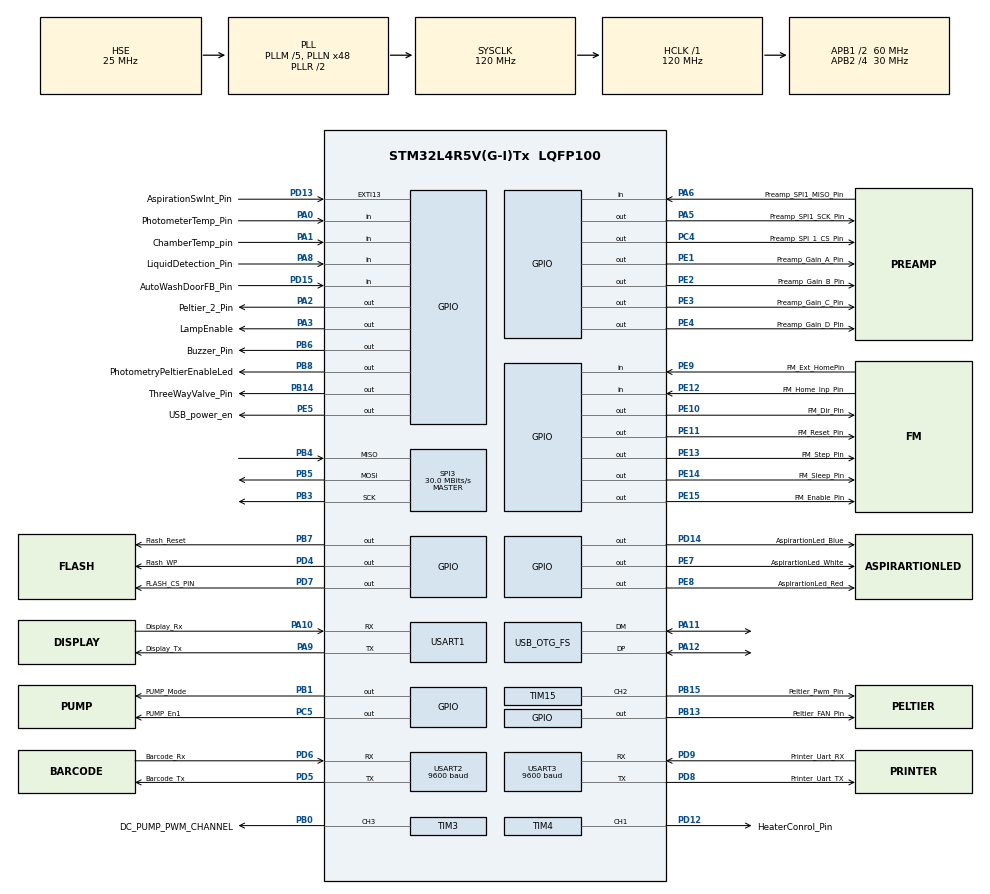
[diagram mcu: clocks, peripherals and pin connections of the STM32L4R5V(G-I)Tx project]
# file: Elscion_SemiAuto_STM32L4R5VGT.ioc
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FREERTOS.BinarySemaphores01=SemBarcodeRx,Dynamic,NULL;SemPrinterRx,Dynamic,NULL;SemAspSw,Dynamic,NULL
FREERTOS.Mutexes01=MutexUsbcdcCom,Dynamic,NULL;MutexIntPrinter,Dynamic,NULL;MutexIntRtc,Dynamic,NULL;MutexPreampSpi,Dynamic,NULL
FREERTOS.Tasks01=StartThreadLcdH,0,3072,HandlerStartThreadLcdH,Default,NULL,Dynamic,NULL,NULL;TemperaturePID,3,512,HandlerTemperaturePID,Default,NULL,Dynamic,NULL,NULL
FREERTOS.configMINIMAL_STACK_SIZE=256
FREERTOS.configTOTAL_HEAP_SIZE=15360
FREERTOS.configUSE_NEWLIB_REENTRANT=1
Mcu.Family=STM32L4
Mcu.Name=STM32L4R5V(G-I)Tx
Mcu.Package=LQFP100
NVIC.EXTI15_10_IRQn=true\:14\:0\:true\:false\:true\:true\:true\:true\:true
NVIC.PriorityGroup=NVIC_PRIORITYGROUP_4
NVIC.TIM2_IRQn=true\:15\:0\:false\:false\:true\:false\:false\:true\:true
NVIC.TIM5_IRQn=true\:15\:0\:true\:false\:true\:true\:true\:true\:true
NVIC.TIM6_DAC_IRQn=true\:14\:0\:true\:false\:true\:true\:true\:true\:true
NVIC.TimeBase=TIM2_IRQn
NVIC.TimeBaseIP=TIM2
NVIC.USART2_IRQn=true\:15\:0\:true\:false\:true\:true\:true\:true\:true
NVIC.USART3_IRQn=true\:15\:0\:true\:false\:true\:true\:true\:true\:true
PA0.GPIO_Label=PhotometerTemp_Pin
PA0.GPIO_PuPd=GPIO_PULLUP
PA0.Signal=GPIO_Input
PA1.GPIO_Label=ChamberTemp_pin
PA1.GPIO_PuPd=GPIO_NOPULL
PA1.Signal=GPIO_Input
PA10.GPIO_Label=Display_Rx
PA10.Mode=Asynchronous
PA10.Signal=USART1_RX
PA11.Mode=Device_Only
PA11.Signal=USB_OTG_FS_DM
PA12.Mode=Device_Only
PA12.Signal=USB_OTG_FS_DP
PA13\ (JTMS/SWDIO).Mode=Serial_Wire
PA13\ (JTMS/SWDIO).Signal=SYS_JTMS-SWDIO
PA14\ (JTCK/SWCLK).Mode=Serial_Wire
PA14\ (JTCK/SWCLK).Signal=SYS_JTCK-SWCLK
PA2.GPIO_Label=Peltier_2_Pin
PA2.Signal=GPIO_Output
PA3.GPIO_Label=LampEnable
PA3.PinState=GPIO_PIN_SET
PA3.Signal=GPIO_Output
PA5.GPIO_Label=Preamp_SPI1_SCK_Pin
PA5.Signal=GPIO_Output
PA6.GPIO_Label=Preamp_SPI1_MISO_Pin
PA6.Signal=GPIO_Input
PA8.GPIO_Label=LiquidDetection_Pin
PA8.Signal=GPIO_Input
PA9.GPIO_Label=Display_Tx
PA9.Mode=Asynchronous
PA9.Signal=USART1_TX
PB0.GPIO_Label=DC_PUMP_PWM_CHANNEL
PB0.Signal=S_TIM3_CH3
PB1.GPIO_Label=PUMP_Mode
PB1.Signal=GPIO_Output
PB13.GPIO_Label=Peltier_FAN_Pin
PB13.Signal=GPIO_Output
PB14.GPIO_Label=ThreeWayValve_Pin
PB14.Signal=GPIO_Output
PB15.GPIO_Label=Peltier_Pwm_Pin
PB15.Signal=S_TIM15_CH2
PB3\ (JTDO/TRACESWO).Mode=Full_Duplex_Master
PB3\ (JTDO/TRACESWO).Signal=SPI3_SCK
PB4\ (NJTRST).Mode=Full_Duplex_Master
PB4\ (NJTRST).Signal=SPI3_MISO
PB5.Mode=Full_Duplex_Master
PB5.Signal=SPI3_MOSI
PB6.GPIO_Label=Buzzer_Pin
PB6.Signal=GPIO_Output
PB7.GPIO_Label=Flash_Reset
PB7.Signal=GPIO_Output
PB8.GPIO_Label=PhotometryPeltierEnableLed
PB8.Signal=GPIO_Output
PC14-OSC32_IN\ (PC14).Mode=LSE-External-Oscillator
PC14-OSC32_IN\ (PC14).Signal=RCC_OSC32_IN
PC15-OSC32_OUT\ (PC15).Mode=LSE-External-Oscillator
PC15-OSC32_OUT\ (PC15).Signal=RCC_OSC32_OUT
PC4.GPIO_Label=Preamp_SPI_1_CS_Pin
PC4.PinState=GPIO_PIN_SET
PC4.Signal=GPIO_Output
PC5.GPIO_Label=PUMP_En1
PC5.Signal=GPIO_Output
PD12.GPIO_Label=HeaterConrol_Pin
PD12.Signal=S_TIM4_CH1
PD13.GPIO_Label=AspirationSwInt_Pin
PD13.GPIO_PuPd=GPIO_PULLDOWN
PD13.Signal=GPXTI13
PD14.GPIO_Label=AspirartionLed_Blue
PD14.Signal=GPIO_Output
PD15.GPIO_Label=AutoWashDoorFB_Pin
PD15.Signal=GPIO_Input
PD4.GPIO_Label=Flash_WP
PD4.GPIO_PuPd=GPIO_PULLDOWN
PD4.PinState=GPIO_PIN_RESET
PD4.Signal=GPIO_Output
PD5.GPIO_Label=Barcode_Tx
PD5.Mode=Asynchronous
PD5.Signal=USART2_TX
PD6.GPIO_Label=Barcode_Rx
PD6.Mode=Asynchronous
PD6.Signal=USART2_RX
PD7.GPIO_Label=FLASH_CS_PIN
PD7.GPIO_Speed=GPIO_SPEED_FREQ_VERY_HIGH
PD7.PinState=GPIO_PIN_SET
PD7.Signal=GPIO_Output
PD8.GPIO_Label=Printer_Uart_TX
PD8.Mode=Asynchronous
PD8.Signal=USART3_TX
PD9.GPIO_Label=Printer_Uart_RX
PD9.Mode=Asynchronous
PD9.Signal=USART3_RX
PE1.GPIO_Label=Preamp_Gain_A_Pin
PE1.Signal=GPIO_Output
PE10.GPIO_Label=FM_Dir_Pin
PE10.GPIO_PuPd=GPIO_PULLDOWN
PE10.Signal=GPIO_Output
PE11.GPIO_Label=FM_Reset_Pin
PE11.GPIO_PuPd=GPIO_PULLUP
PE11.Signal=GPIO_Output
PE12.GPIO_Label=FM_Home_Inp_Pin
PE12.GPIO_PuPd=GPIO_PULLDOWN
PE12.Signal=GPIO_Input
PE13.GPIO_Label=FM_Step_Pin
PE13.GPIO_PuPd=GPIO_PULLDOWN
PE13.Signal=GPIO_Output
PE14.GPIO_Label=FM_Sleep_Pin
PE14.GPIO_PuPd=GPIO_PULLDOWN
PE14.Signal=GPIO_Output
PE15.GPIO_Label=FM_Enable_Pin
PE15.GPIO_PuPd=GPIO_PULLUP
PE15.Signal=GPIO_Output
PE2.GPIO_Label=Preamp_Gain_B_Pin
PE2.Signal=GPIO_Output
PE3.GPIO_Label=Preamp_Gain_C_Pin
PE3.Signal=GPIO_Output
PE4.GPIO_Label=Preamp_Gain_D_Pin
PE4.Signal=GPIO_Output
PE5.GPIO_Label=USB_power_en
PE5.Signal=GPIO_Output
PE7.GPIO_Label=AspirartionLed_White
PE7.Signal=GPIO_Output
PE8.GPIO_Label=AspirartionLed_Red
PE8.Signal=GPIO_Output
PE9.GPIO_Label=FM_Ext_HomePin
PE9.Signal=GPIO_Input
PH0-OSC_IN\ (PH0).Mode=HSE-External-Oscillator
PH0-OSC_IN\ (PH0).Signal=RCC_OSC_IN
PH1-OSC_OUT\ (PH1).Mode=HSE-External-Oscillator
PH1-OSC_OUT\ (PH1).Signal=RCC_OSC_OUT
ProjectManager.HeapSize=0x400
ProjectManager.StackSize=0x800
ProjectManager.TargetToolchain=STM32CubeIDE
RCC.ADCFreq_Value=34375000
RCC.AHBFreq_Value=120000000
RCC.APB1CLKDivider=RCC_HCLK_DIV2
RCC.APB1Freq_Value=60000000
RCC.APB1TimFreq_Value=120000000
RCC.APB2CLKDivider=RCC_HCLK_DIV4
RCC.APB2Freq_Value=30000000
RCC.APB2TimFreq_Value=60000000
RCC.CK48CLockSelection=RCC_USBCLKSOURCE_HSI48
RCC.CortexFreq_Value=120000000
RCC.HCLKFreq_Value=120000000
RCC.HSE_VALUE=25000000
RCC.HSI48_VALUE=48000000
RCC.HSICalibrationValue=16
RCC.HSI_VALUE=16000000
RCC.MSI_VALUE=4000000
RCC.PLLM1=5
RCC.PLLM2=4
RCC.PLLN=48
RCC.PLLSAI1N=11
RCC.PLLSAI1Q=RCC_PLLQ_DIV6
RCC.PLLSourceVirtual=RCC_PLLSOURCE_HSE
RCC.PREFETCH_ENABLE=1
RCC.RTCClockSelection=RCC_RTCCLKSOURCE_LSE
RCC.SYSCLKFreq_VALUE=120000000
RCC.SYSCLKSource=RCC_SYSCLKSOURCE_PLLCLK
RCC.USBFreq_Value=48000000
RCC.VCOOutputFreq_Value=240000000
RTC.Format=RTC_FORMAT_BIN
RTC.HourFormat=RTC_HOURFORMAT_24
RTC.Hours=1
RTC.WeekDay=RTC_WEEKDAY_SUNDAY
RTC.Year=24
SH.S_TIM15_CH2.0=TIM15_CH2,PWM Generation2 CH2
SH.S_TIM3_CH3.0=TIM3_CH3,PWM Generation3 CH3
SH.S_TIM4_CH1.0=TIM4_CH1,PWM Generation1 CH1
SPI3.BaudRatePrescaler=SPI_BAUDRATEPRESCALER_2
SPI3.CalculateBaudRate=30.0 MBits/s
SPI3.DataSize=SPI_DATASIZE_8BIT
SPI3.Direction=SPI_DIRECTION_2LINES
SPI3.Mode=SPI_MODE_MASTER
SPI3.NSSPMode=SPI_NSS_PULSE_ENABLE
SPI3.VirtualType=VM_MASTER
TIM15.Channel-PWM\ Generation2\ CH2=TIM_CHANNEL_2
TIM15.Period=65535
TIM15.Prescaler=0
TIM17.Prescaler=915
TIM3.Channel-PWM\ Generation3\ CH3=TIM_CHANNEL_3
TIM3.Prescaler=915
TIM4.Channel-PWM\ Generation1\ CH1=TIM_CHANNEL_1
TIM4.Period=99
TIM4.Prescaler=22
TIM5.Period=100
TIM5.Prescaler=(39-1)
TIM6.Prescaler=1
TIM7.Prescaler=60-1
USART1.DMADisableonRxErrorParam=ADVFEATURE_DMA_DISABLEONRXERROR
USART1.FIFOMode=FIFOMODE_ENABLE
USART1.OverrunDisableParam=ADVFEATURE_OVERRUN_DISABLE
USART1.VirtualMode-Asynchronous=VM_ASYNC
USART2.BaudRate=9600
USART2.DMADisableonRxErrorParam=ADVFEATURE_DMA_DISABLEONRXERROR
USART2.OverrunDisableParam=ADVFEATURE_OVERRUN_DISABLE
USART2.VirtualMode-Asynchronous=VM_ASYNC
USART3.BaudRate=9600
USART3.DMADisableonRxErrorParam=ADVFEATURE_DMA_DISABLEONRXERROR
USART3.OverrunDisableParam=ADVFEATURE_OVERRUN_DISABLE
USART3.VirtualMode-Asynchronous=VM_ASYNC
USB_OTG_FS.VirtualMode=Device_Only
VP_FREERTOS_VS_CMSIS_V1.Mode=CMSIS_V1
VP_RTC_VS_RTC_Activate.Mode=RTC_Enabled
VP_RTC_VS_RTC_Calendar.Mode=RTC_Calendar
VP_SYS_VS_tim2.Mode=TIM2
VP_TIM15_VS_ClockSourceINT.Mode=Internal
VP_TIM17_VS_ClockSourceINT.Mode=Enable_Timer
VP_TIM3_VS_ClockSourceINT.Mode=Internal
VP_TIM4_VS_ClockSourceINT.Mode=Internal
VP_TIM5_VS_ClockSourceINT.Mode=Internal
VP_TIM6_VS_ClockSourceINT.Mode=Enable_Timer
VP_TIM7_VS_ClockSourceINT.Mode=Enable_Timer
board=custom

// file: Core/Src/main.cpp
/* USER CODE BEGIN Header */
/**
  ******************************************************************************
  * @file           : main.c
  * @brief          : Main program body
  ******************************************************************************
  * @attention
  *
  * Copyright (c) 2023 STMicroelectronics.
  * All rights reserved.
  *
  * This software is licensed under terms that can be found in the LICENSE file
  * in the root directory of this software component.
  * If no LICENSE file comes with this software, it is provided AS-IS.
  *
  ******************************************************************************
  */
/* USER CODE END Header */
#include "main.h"
#include "cmsis_os.h"

/* USER CODE BEGIN Includes */
#include "lcd.h"
#include "Buzzer.h"
#include "Printer.h"
#include "ExtBarcode.h"
#include "w25qxxFlash.h"
#include "Preamp.h"
#include "FilterMotor.h"
#include "HandlerPheripherals.hpp"
#include "TempratureSens.h"
#include "DcMotor.hpp"

/* USER CODE END Includes */

 RTC_HandleTypeDef hrtc;

SPI_HandleTypeDef hspi3;

TIM_HandleTypeDef htim3;
TIM_HandleTypeDef htim4;
TIM_HandleTypeDef htim5;
TIM_HandleTypeDef htim6;
TIM_HandleTypeDef htim7;
TIM_HandleTypeDef htim15;
TIM_HandleTypeDef htim17;

UART_HandleTypeDef huart1;
UART_HandleTypeDef huart2;
UART_HandleTypeDef huart3;

PCD_HandleTypeDef hpcd_USB_OTG_FS;

osThreadId StartThreadLcdHHandle;
osThreadId TemperaturePIDHandle;
osMutexId MutexUsbcdcComHandle;
osMutexId MutexIntPrinterHandle;
osMutexId MutexIntRtcHandle;
osMutexId MutexPreampSpiHandle;
osSemaphoreId SemBarcodeRxHandle;
osSemaphoreId SemPrinterRxHandle;
osSemaphoreId SemAspSwHandle;

void SystemClock_Config(void);
static void MX_GPIO_Init(void);
static void MX_SPI3_Init(void);
static void MX_TIM4_Init(void);
static void MX_TIM15_Init(void);
static void MX_USART1_UART_Init(void);
static void MX_USART2_UART_Init(void);
static void MX_USART3_UART_Init(void);
static void MX_RTC_Init(void);
static void MX_TIM5_Init(void);
static void MX_TIM6_Init(void);
static void MX_TIM17_Init(void);
static void MX_USB_OTG_FS_PCD_Init(void);
static void MX_TIM3_Init(void);
static void MX_TIM7_Init(void);
void HandlerStartThreadLcdH(void const * argument);
void HandlerTemperaturePID(void const * argument);

/* USER CODE BEGIN PFP */
#define BUZZER_TIMER htim5;
#define PRINTER_UART huart3;
static uint32_t lastDebounceTime = 0;
/* USER CODE END PFP */

/* USER CODE BEGIN 0 */
TIM_HandleTypeDef* GetInstance_BuzzerTimer(void)
{
	return &BUZZER_TIMER;
}

UART_HandleTypeDef* GetInstance_PrinterUart(void)
{
	return &PRINTER_UART;
}
/* USER CODE END 0 */

int main(void)
{

  /* MCU Configuration--------------------------------------------------------*/

  /* Reset of all peripherals, Initializes the Flash interface and the Systick. */
  HAL_Init();

  /* Configure the system clock */
  SystemClock_Config();

  /* Initialize all configured peripherals */
  MX_GPIO_Init();
  MX_SPI3_Init();
  MX_TIM4_Init();
  MX_TIM15_Init();
  MX_USART1_UART_Init();
  MX_USART2_UART_Init();
  MX_USART3_UART_Init();
  MX_RTC_Init();
  MX_TIM5_Init();
  MX_TIM6_Init();
  MX_TIM17_Init();
  MX_USB_OTG_FS_PCD_Init();
  MX_TIM3_Init();
  MX_TIM7_Init();
  /* USER CODE BEGIN 2 */

//  InitPrinter(&huart3);
  HAL_Delay(2000);

#if (USB_DEVICE_DEBUG_ENABLE_FLAG)
  MX_USB_DEVICE_Init();/* init code for USB_DEVICE */
  MX_USB_OTG_FS_PCD_Init();
#endif
  /* USER CODE END 2 */

  /* Create the mutex(es) */
  /* definition and creation of MutexUsbcdcCom */
  osMutexDef(MutexUsbcdcCom);
  MutexUsbcdcComHandle = osMutexCreate(osMutex(MutexUsbcdcCom));

  /* definition and creation of MutexIntPrinter */
  osMutexDef(MutexIntPrinter);
  MutexIntPrinterHandle = osMutexCreate(osMutex(MutexIntPrinter));

  /* definition and creation of MutexIntRtc */
  osMutexDef(MutexIntRtc);
  MutexIntRtcHandle = osMutexCreate(osMutex(MutexIntRtc));

  /* definition and creation of MutexPreampSpi */
  osMutexDef(MutexPreampSpi);
  MutexPreampSpiHandle = osMutexCreate(osMutex(MutexPreampSpi));

  /* Create the semaphores(s) */
  /* definition and creation of SemBarcodeRx */
  osSemaphoreDef(SemBarcodeRx);
  SemBarcodeRxHandle = osSemaphoreCreate(osSemaphore(SemBarcodeRx), 1);

  /* definition and creation of SemPrinterRx */
  osSemaphoreDef(SemPrinterRx);
  SemPrinterRxHandle = osSemaphoreCreate(osSemaphore(SemPrinterRx), 1);

  /* definition and creation of SemAspSw */
  osSemaphoreDef(SemAspSw);
  SemAspSwHandle = osSemaphoreCreate(osSemaphore(SemAspSw), 1);

  /* Create the thread(s) */
  /* definition and creation of StartThreadLcdH */
  osThreadDef(StartThreadLcdH, HandlerStartThreadLcdH, osPriorityNormal, 0, 3072);
  StartThreadLcdHHandle = osThreadCreate(osThread(StartThreadLcdH), NULL);

  /* definition and creation of TemperaturePID */
  osThreadDef(TemperaturePID, HandlerTemperaturePID, osPriorityRealtime, 0, 512);
  TemperaturePIDHandle = osThreadCreate(osThread(TemperaturePID), NULL);

  /* Start scheduler */
  osKernelStart();

  /* We should never get here as control is now taken by the scheduler */
  /* Infinite loop */
  while (1)
  {

  }
}

void SystemClock_Config(void)
{
  RCC_OscInitTypeDef RCC_OscInitStruct = {0};
  RCC_ClkInitTypeDef RCC_ClkInitStruct = {0};

  /** Configure the main internal regulator output voltage
  */
  if (HAL_PWREx_ControlVoltageScaling(PWR_REGULATOR_VOLTAGE_SCALE1_BOOST) != HAL_OK)
  {
    Error_Handler();
  }

  /** Configure LSE Drive Capability
  */
  HAL_PWR_EnableBkUpAccess();
  __HAL_RCC_LSEDRIVE_CONFIG(RCC_LSEDRIVE_LOW);

  /** Initializes the RCC Oscillators according to the specified parameters
  * in the RCC_OscInitTypeDef structure.
  */
  RCC_OscInitStruct.OscillatorType = RCC_OSCILLATORTYPE_HSI48|RCC_OSCILLATORTYPE_HSE
                              |RCC_OSCILLATORTYPE_LSE;
  RCC_OscInitStruct.HSEState = RCC_HSE_ON;
  RCC_OscInitStruct.LSEState = RCC_LSE_ON;
  RCC_OscInitStruct.HSI48State = RCC_HSI48_ON;
  RCC_OscInitStruct.PLL.PLLState = RCC_PLL_ON;
  RCC_OscInitStruct.PLL.PLLSource = RCC_PLLSOURCE_HSE;
  RCC_OscInitStruct.PLL.PLLM = 5;
  RCC_OscInitStruct.PLL.PLLN = 48;
  RCC_OscInitStruct.PLL.PLLP = RCC_PLLP_DIV2;
  RCC_OscInitStruct.PLL.PLLQ = RCC_PLLQ_DIV2;
  RCC_OscInitStruct.PLL.PLLR = RCC_PLLR_DIV2;
  if (HAL_RCC_OscConfig(&RCC_OscInitStruct) != HAL_OK)
  {
    Error_Handler();
  }

  /** Initializes the CPU, AHB and APB buses clocks
  */
  RCC_ClkInitStruct.ClockType = RCC_CLOCKTYPE_HCLK|RCC_CLOCKTYPE_SYSCLK
                              |RCC_CLOCKTYPE_PCLK1|RCC_CLOCKTYPE_PCLK2;
  RCC_ClkInitStruct.SYSCLKSource = RCC_SYSCLKSOURCE_PLLCLK;
  RCC_ClkInitStruct.AHBCLKDivider = RCC_SYSCLK_DIV1;
  RCC_ClkInitStruct.APB1CLKDivider = RCC_HCLK_DIV2;
  RCC_ClkInitStruct.APB2CLKDivider = RCC_HCLK_DIV4;

  if (HAL_RCC_ClockConfig(&RCC_ClkInitStruct, FLASH_LATENCY_5) != HAL_OK)
  {
    Error_Handler();
  }
}

static void MX_RTC_Init(void)
{

  /* USER CODE BEGIN RTC_Init 0 */
#if 0
  /* USER CODE END RTC_Init 0 */

  RTC_TimeTypeDef sTime = {0};
  RTC_DateTypeDef sDate = {0};

  /* USER CODE BEGIN RTC_Init 1 */
#endif
  /* USER CODE END RTC_Init 1 */

  /** Initialize RTC Only
  */
  hrtc.Instance = RTC;
  hrtc.Init.HourFormat = RTC_HOURFORMAT_24;
  hrtc.Init.AsynchPrediv = 127;
  hrtc.Init.SynchPrediv = 255;
  hrtc.Init.OutPut = RTC_OUTPUT_DISABLE;
  hrtc.Init.OutPutRemap = RTC_OUTPUT_REMAP_NONE;
  hrtc.Init.OutPutPolarity = RTC_OUTPUT_POLARITY_HIGH;
  hrtc.Init.OutPutType = RTC_OUTPUT_TYPE_OPENDRAIN;
  if (HAL_RTC_Init(&hrtc) != HAL_OK)
  {
    Error_Handler();
  }

  /* USER CODE BEGIN Check_RTC_BKUP */
#if 0
  /* USER CODE END Check_RTC_BKUP */

  /** Initialize RTC and set the Time and Date
  */
  sTime.Hours = 1;
  sTime.Minutes = 0;
  sTime.Seconds = 0;
  sTime.DayLightSaving = RTC_DAYLIGHTSAVING_NONE;
  sTime.StoreOperation = RTC_STOREOPERATION_RESET;
  if (HAL_RTC_SetTime(&hrtc, &sTime, RTC_FORMAT_BIN) != HAL_OK)
  {
    Error_Handler();
  }
  sDate.WeekDay = RTC_WEEKDAY_SUNDAY;
  sDate.Month = RTC_MONTH_JANUARY;
  sDate.Date = 1;
  sDate.Year = 24;

  if (HAL_RTC_SetDate(&hrtc, &sDate, RTC_FORMAT_BIN) != HAL_OK)
  {
    Error_Handler();
  }
  /* USER CODE BEGIN RTC_Init 2 */
#endif
  /* USER CODE END RTC_Init 2 */

}

static void MX_SPI3_Init(void)
{

  /* SPI3 parameter configuration*/
  hspi3.Instance = SPI3;
  hspi3.Init.Mode = SPI_MODE_MASTER;
  hspi3.Init.Direction = SPI_DIRECTION_2LINES;
  hspi3.Init.DataSize = SPI_DATASIZE_8BIT;
  hspi3.Init.CLKPolarity = SPI_POLARITY_LOW;
  hspi3.Init.CLKPhase = SPI_PHASE_1EDGE;
  hspi3.Init.NSS = SPI_NSS_SOFT;
  hspi3.Init.BaudRatePrescaler = SPI_BAUDRATEPRESCALER_2;
  hspi3.Init.FirstBit = SPI_FIRSTBIT_MSB;
  hspi3.Init.TIMode = SPI_TIMODE_DISABLE;
  hspi3.Init.CRCCalculation = SPI_CRCCALCULATION_DISABLE;
  hspi3.Init.CRCPolynomial = 7;
  hspi3.Init.CRCLength = SPI_CRC_LENGTH_DATASIZE;
  hspi3.Init.NSSPMode = SPI_NSS_PULSE_ENABLE;
  if (HAL_SPI_Init(&hspi3) != HAL_OK)
  {
    Error_Handler();
  }

}

static void MX_TIM3_Init(void)
{

  TIM_ClockConfigTypeDef sClockSourceConfig = {0};
  TIM_MasterConfigTypeDef sMasterConfig = {0};
  TIM_OC_InitTypeDef sConfigOC = {0};

  htim3.Instance = TIM3;
  htim3.Init.Prescaler = 915;
  htim3.Init.CounterMode = TIM_COUNTERMODE_UP;
  htim3.Init.Period = 65535;
  htim3.Init.ClockDivision = TIM_CLOCKDIVISION_DIV1;
  htim3.Init.AutoReloadPreload = TIM_AUTORELOAD_PRELOAD_DISABLE;
  if (HAL_TIM_Base_Init(&htim3) != HAL_OK)
  {
    Error_Handler();
  }
  sClockSourceConfig.ClockSource = TIM_CLOCKSOURCE_INTERNAL;
  if (HAL_TIM_ConfigClockSource(&htim3, &sClockSourceConfig) != HAL_OK)
  {
    Error_Handler();
  }
  if (HAL_TIM_PWM_Init(&htim3) != HAL_OK)
  {
    Error_Handler();
  }
  sMasterConfig.MasterOutputTrigger = TIM_TRGO_RESET;
  sMasterConfig.MasterSlaveMode = TIM_MASTERSLAVEMODE_DISABLE;
  if (HAL_TIMEx_MasterConfigSynchronization(&htim3, &sMasterConfig) != HAL_OK)
  {
    Error_Handler();
  }
  sConfigOC.OCMode = TIM_OCMODE_PWM1;
  sConfigOC.Pulse = 0;
  sConfigOC.OCPolarity = TIM_OCPOLARITY_HIGH;
  sConfigOC.OCFastMode = TIM_OCFAST_DISABLE;
  if (HAL_TIM_PWM_ConfigChannel(&htim3, &sConfigOC, TIM_CHANNEL_3) != HAL_OK)
  {
    Error_Handler();
  }
  HAL_TIM_MspPostInit(&htim3);

}

static void MX_TIM4_Init(void)
{

  TIM_ClockConfigTypeDef sClockSourceConfig = {0};
  TIM_MasterConfigTypeDef sMasterConfig = {0};
  TIM_OC_InitTypeDef sConfigOC = {0};

  htim4.Instance = TIM4;
  htim4.Init.Prescaler = 22;
  htim4.Init.CounterMode = TIM_COUNTERMODE_UP;
  htim4.Init.Period = 99;
  htim4.Init.ClockDivision = TIM_CLOCKDIVISION_DIV1;
  htim4.Init.AutoReloadPreload = TIM_AUTORELOAD_PRELOAD_DISABLE;
  if (HAL_TIM_Base_Init(&htim4) != HAL_OK)
  {
    Error_Handler();
  }
  sClockSourceConfig.ClockSource = TIM_CLOCKSOURCE_INTERNAL;
  if (HAL_TIM_ConfigClockSource(&htim4, &sClockSourceConfig) != HAL_OK)
  {
    Error_Handler();
  }
  if (HAL_TIM_PWM_Init(&htim4) != HAL_OK)
  {
    Error_Handler();
  }
  sMasterConfig.MasterOutputTrigger = TIM_TRGO_RESET;
  sMasterConfig.MasterSlaveMode = TIM_MASTERSLAVEMODE_DISABLE;
  if (HAL_TIMEx_MasterConfigSynchronization(&htim4, &sMasterConfig) != HAL_OK)
  {
    Error_Handler();
  }
  sConfigOC.OCMode = TIM_OCMODE_PWM1;
  sConfigOC.Pulse = 0;
  sConfigOC.OCPolarity = TIM_OCPOLARITY_HIGH;
  sConfigOC.OCFastMode = TIM_OCFAST_DISABLE;
  if (HAL_TIM_PWM_ConfigChannel(&htim4, &sConfigOC, TIM_CHANNEL_1) != HAL_OK)
  {
    Error_Handler();
  }
  HAL_TIM_MspPostInit(&htim4);

}

static void MX_TIM5_Init(void)
{

  TIM_ClockConfigTypeDef sClockSourceConfig = {0};
  TIM_MasterConfigTypeDef sMasterConfig = {0};

  htim5.Instance = TIM5;
  htim5.Init.Prescaler = (39-1);
  htim5.Init.CounterMode = TIM_COUNTERMODE_UP;
  htim5.Init.Period = 100;
  htim5.Init.ClockDivision = TIM_CLOCKDIVISION_DIV1;
  htim5.Init.AutoReloadPreload = TIM_AUTORELOAD_PRELOAD_DISABLE;
  if (HAL_TIM_Base_Init(&htim5) != HAL_OK)
  {
    Error_Handler();
  }
  sClockSourceConfig.ClockSource = TIM_CLOCKSOURCE_INTERNAL;
  if (HAL_TIM_ConfigClockSource(&htim5, &sClockSourceConfig) != HAL_OK)
  {
    Error_Handler();
  }
  sMasterConfig.MasterOutputTrigger = TIM_TRGO_RESET;
  sMasterConfig.MasterSlaveMode = TIM_MASTERSLAVEMODE_DISABLE;
  if (HAL_TIMEx_MasterConfigSynchronization(&htim5, &sMasterConfig) != HAL_OK)
  {
    Error_Handler();
  }

}

static void MX_TIM6_Init(void)
{

  TIM_MasterConfigTypeDef sMasterConfig = {0};

  htim6.Instance = TIM6;
  htim6.Init.Prescaler = 1;
  htim6.Init.CounterMode = TIM_COUNTERMODE_UP;
  htim6.Init.Period = 65535;
  htim6.Init.AutoReloadPreload = TIM_AUTORELOAD_PRELOAD_DISABLE;
  if (HAL_TIM_Base_Init(&htim6) != HAL_OK)
  {
    Error_Handler();
  }
  sMasterConfig.MasterOutputTrigger = TIM_TRGO_RESET;
  sMasterConfig.MasterSlaveMode = TIM_MASTERSLAVEMODE_DISABLE;
  if (HAL_TIMEx_MasterConfigSynchronization(&htim6, &sMasterConfig) != HAL_OK)
  {
    Error_Handler();
  }

}

static void MX_TIM7_Init(void)
{

  TIM_MasterConfigTypeDef sMasterConfig = {0};

  htim7.Instance = TIM7;
  htim7.Init.Prescaler = 60-1;
  htim7.Init.CounterMode = TIM_COUNTERMODE_UP;
  htim7.Init.Period = 65535;
  htim7.Init.AutoReloadPreload = TIM_AUTORELOAD_PRELOAD_DISABLE;
  if (HAL_TIM_Base_Init(&htim7) != HAL_OK)
  {
    Error_Handler();
  }
  sMasterConfig.MasterOutputTrigger = TIM_TRGO_RESET;
  sMasterConfig.MasterSlaveMode = TIM_MASTERSLAVEMODE_DISABLE;
  if (HAL_TIMEx_MasterConfigSynchronization(&htim7, &sMasterConfig) != HAL_OK)
  {
    Error_Handler();
  }

}

static void MX_TIM15_Init(void)
{

  TIM_ClockConfigTypeDef sClockSourceConfig = {0};
  TIM_MasterConfigTypeDef sMasterConfig = {0};
  TIM_OC_InitTypeDef sConfigOC = {0};
  TIM_BreakDeadTimeConfigTypeDef sBreakDeadTimeConfig = {0};

  htim15.Instance = TIM15;
  htim15.Init.Prescaler = 0;
  htim15.Init.CounterMode = TIM_COUNTERMODE_UP;
  htim15.Init.Period = 65535;
  htim15.Init.ClockDivision = TIM_CLOCKDIVISION_DIV1;
  htim15.Init.RepetitionCounter = 0;
  htim15.Init.AutoReloadPreload = TIM_AUTORELOAD_PRELOAD_DISABLE;
  if (HAL_TIM_Base_Init(&htim15) != HAL_OK)
  {
    Error_Handler();
  }
  sClockSourceConfig.ClockSource = TIM_CLOCKSOURCE_INTERNAL;
  if (HAL_TIM_ConfigClockSource(&htim15, &sClockSourceConfig) != HAL_OK)
  {
    Error_Handler();
  }
  if (HAL_TIM_PWM_Init(&htim15) != HAL_OK)
  {
    Error_Handler();
  }
  sMasterConfig.MasterOutputTrigger = TIM_TRGO_RESET;
  sMasterConfig.MasterSlaveMode = TIM_MASTERSLAVEMODE_DISABLE;
  if (HAL_TIMEx_MasterConfigSynchronization(&htim15, &sMasterConfig) != HAL_OK)
  {
    Error_Handler();
  }
  sConfigOC.OCMode = TIM_OCMODE_PWM1;
  sConfigOC.Pulse = 0;
  sConfigOC.OCPolarity = TIM_OCPOLARITY_HIGH;
  sConfigOC.OCNPolarity = TIM_OCNPOLARITY_HIGH;
  sConfigOC.OCFastMode = TIM_OCFAST_DISABLE;
  sConfigOC.OCIdleState = TIM_OCIDLESTATE_RESET;
  sConfigOC.OCNIdleState = TIM_OCNIDLESTATE_RESET;
  if (HAL_TIM_PWM_ConfigChannel(&htim15, &sConfigOC, TIM_CHANNEL_2) != HAL_OK)
  {
    Error_Handler();
  }
  sBreakDeadTimeConfig.OffStateRunMode = TIM_OSSR_DISABLE;
  sBreakDeadTimeConfig.OffStateIDLEMode = TIM_OSSI_DISABLE;
  sBreakDeadTimeConfig.LockLevel = TIM_LOCKLEVEL_OFF;
  sBreakDeadTimeConfig.DeadTime = 0;
  sBreakDeadTimeConfig.BreakState = TIM_BREAK_DISABLE;
  sBreakDeadTimeConfig.BreakPolarity = TIM_BREAKPOLARITY_HIGH;
  sBreakDeadTimeConfig.AutomaticOutput = TIM_AUTOMATICOUTPUT_DISABLE;
  if (HAL_TIMEx_ConfigBreakDeadTime(&htim15, &sBreakDeadTimeConfig) != HAL_OK)
  {
    Error_Handler();
  }
  HAL_TIM_MspPostInit(&htim15);

}

static void MX_TIM17_Init(void)
{

  htim17.Instance = TIM17;
  htim17.Init.Prescaler = 915;
  htim17.Init.CounterMode = TIM_COUNTERMODE_UP;
  htim17.Init.Period = 65535;
  htim17.Init.ClockDivision = TIM_CLOCKDIVISION_DIV1;
  htim17.Init.RepetitionCounter = 0;
  htim17.Init.AutoReloadPreload = TIM_AUTORELOAD_PRELOAD_DISABLE;
  if (HAL_TIM_Base_Init(&htim17) != HAL_OK)
  {
    Error_Handler();
  }

}

static void MX_USART1_UART_Init(void)
{

  huart1.Instance = USART1;
  huart1.Init.BaudRate = 115200;
  huart1.Init.WordLength = UART_WORDLENGTH_8B;
  huart1.Init.StopBits = UART_STOPBITS_1;
  huart1.Init.Parity = UART_PARITY_NONE;
  huart1.Init.Mode = UART_MODE_TX_RX;
  huart1.Init.HwFlowCtl = UART_HWCONTROL_NONE;
  huart1.Init.OverSampling = UART_OVERSAMPLING_16;
  huart1.Init.OneBitSampling = UART_ONE_BIT_SAMPLE_DISABLE;
  huart1.Init.ClockPrescaler = UART_PRESCALER_DIV1;
  huart1.AdvancedInit.AdvFeatureInit = UART_ADVFEATURE_RXOVERRUNDISABLE_INIT|UART_ADVFEATURE_DMADISABLEONERROR_INIT;
  huart1.AdvancedInit.OverrunDisable = UART_ADVFEATURE_OVERRUN_DISABLE;
  huart1.AdvancedInit.DMADisableonRxError = UART_ADVFEATURE_DMA_DISABLEONRXERROR;
  if (HAL_UART_Init(&huart1) != HAL_OK)
  {
    Error_Handler();
  }
  if (HAL_UARTEx_SetTxFifoThreshold(&huart1, UART_TXFIFO_THRESHOLD_1_8) != HAL_OK)
  {
    Error_Handler();
  }
  if (HAL_UARTEx_SetRxFifoThreshold(&huart1, UART_RXFIFO_THRESHOLD_1_8) != HAL_OK)
  {
    Error_Handler();
  }
  if (HAL_UARTEx_EnableFifoMode(&huart1) != HAL_OK)
  {
    Error_Handler();
  }

}

static void MX_USART2_UART_Init(void)
{

  huart2.Instance = USART2;
  huart2.Init.BaudRate = 9600;
  huart2.Init.WordLength = UART_WORDLENGTH_8B;
  huart2.Init.StopBits = UART_STOPBITS_1;
  huart2.Init.Parity = UART_PARITY_NONE;
  huart2.Init.Mode = UART_MODE_TX_RX;
  huart2.Init.HwFlowCtl = UART_HWCONTROL_NONE;
  huart2.Init.OverSampling = UART_OVERSAMPLING_16;
  huart2.Init.OneBitSampling = UART_ONE_BIT_SAMPLE_DISABLE;
  huart2.Init.ClockPrescaler = UART_PRESCALER_DIV1;
  huart2.AdvancedInit.AdvFeatureInit = UART_ADVFEATURE_RXOVERRUNDISABLE_INIT|UART_ADVFEATURE_DMADISABLEONERROR_INIT;
  huart2.AdvancedInit.OverrunDisable = UART_ADVFEATURE_OVERRUN_DISABLE;
  huart2.AdvancedInit.DMADisableonRxError = UART_ADVFEATURE_DMA_DISABLEONRXERROR;
  if (HAL_UART_Init(&huart2) != HAL_OK)
  {
    Error_Handler();
  }
  if (HAL_UARTEx_SetTxFifoThreshold(&huart2, UART_TXFIFO_THRESHOLD_1_8) != HAL_OK)
  {
    Error_Handler();
  }
  if (HAL_UARTEx_SetRxFifoThreshold(&huart2, UART_RXFIFO_THRESHOLD_1_8) != HAL_OK)
  {
    Error_Handler();
  }
  if (HAL_UARTEx_DisableFifoMode(&huart2) != HAL_OK)
  {
    Error_Handler();
  }

}

static void MX_USART3_UART_Init(void)
{

  huart3.Instance = USART3;
  huart3.Init.BaudRate = 9600;
  huart3.Init.WordLength = UART_WORDLENGTH_8B;
  huart3.Init.StopBits = UART_STOPBITS_1;
  huart3.Init.Parity = UART_PARITY_NONE;
  huart3.Init.Mode = UART_MODE_TX_RX;
  huart3.Init.HwFlowCtl = UART_HWCONTROL_NONE;
  huart3.Init.OverSampling = UART_OVERSAMPLING_16;
  huart3.Init.OneBitSampling = UART_ONE_BIT_SAMPLE_DISABLE;
  huart3.Init.ClockPrescaler = UART_PRESCALER_DIV1;
  huart3.AdvancedInit.AdvFeatureInit = UART_ADVFEATURE_RXOVERRUNDISABLE_INIT|UART_ADVFEATURE_DMADISABLEONERROR_INIT;
  huart3.AdvancedInit.OverrunDisable = UART_ADVFEATURE_OVERRUN_DISABLE;
  huart3.AdvancedInit.DMADisableonRxError = UART_ADVFEATURE_DMA_DISABLEONRXERROR;
  if (HAL_UART_Init(&huart3) != HAL_OK)
  {
    Error_Handler();
  }
  if (HAL_UARTEx_SetTxFifoThreshold(&huart3, UART_TXFIFO_THRESHOLD_1_8) != HAL_OK)
  {
    Error_Handler();
  }
  if (HAL_UARTEx_SetRxFifoThreshold(&huart3, UART_RXFIFO_THRESHOLD_1_8) != HAL_OK)
  {
    Error_Handler();
  }
  if (HAL_UARTEx_DisableFifoMode(&huart3) != HAL_OK)
  {
    Error_Handler();
  }

}

static void MX_USB_OTG_FS_PCD_Init(void)
{

  hpcd_USB_OTG_FS.Instance = USB_OTG_FS;
  hpcd_USB_OTG_FS.Init.dev_endpoints = 6;
  hpcd_USB_OTG_FS.Init.phy_itface = PCD_PHY_EMBEDDED;
  hpcd_USB_OTG_FS.Init.Sof_enable = DISABLE;
  hpcd_USB_OTG_FS.Init.low_power_enable = DISABLE;
  hpcd_USB_OTG_FS.Init.lpm_enable = DISABLE;
  hpcd_USB_OTG_FS.Init.battery_charging_enable = DISABLE;
  hpcd_USB_OTG_FS.Init.use_dedicated_ep1 = DISABLE;
  hpcd_USB_OTG_FS.Init.vbus_sensing_enable = DISABLE;
  if (HAL_PCD_Init(&hpcd_USB_OTG_FS) != HAL_OK)
  {
    Error_Handler();
  }

}

static void MX_GPIO_Init(void)
{
  GPIO_InitTypeDef GPIO_InitStruct = {0};

  /* GPIO Ports Clock Enable */
  __HAL_RCC_GPIOE_CLK_ENABLE();
  __HAL_RCC_GPIOC_CLK_ENABLE();
  __HAL_RCC_GPIOH_CLK_ENABLE();
  __HAL_RCC_GPIOA_CLK_ENABLE();
  __HAL_RCC_GPIOB_CLK_ENABLE();
  __HAL_RCC_GPIOD_CLK_ENABLE();

  /*Configure GPIO pin Output Level */
  HAL_GPIO_WritePin(GPIOE, Preamp_Gain_B_Pin_Pin|Preamp_Gain_C_Pin_Pin|Preamp_Gain_D_Pin_Pin|USB_power_en_Pin
                          |AspirartionLed_White_Pin|AspirartionLed_Red_Pin|FM_Dir_Pin_Pin|FM_Reset_Pin_Pin
                          |FM_Step_Pin_Pin|FM_Sleep_Pin_Pin|FM_Enable_Pin_Pin|Preamp_Gain_A_Pin_Pin, GPIO_PIN_RESET);

  /*Configure GPIO pin Output Level */
  HAL_GPIO_WritePin(GPIOA, Peltier_2_Pin_Pin|Preamp_SPI1_SCK_Pin_Pin, GPIO_PIN_RESET);

  /*Configure GPIO pin Output Level */
  HAL_GPIO_WritePin(LampEnable_GPIO_Port, LampEnable_Pin, GPIO_PIN_RESET);

  /*Configure GPIO pin Output Level */
  HAL_GPIO_WritePin(Preamp_SPI_1_CS_Pin_GPIO_Port, Preamp_SPI_1_CS_Pin_Pin, GPIO_PIN_SET);

  /*Configure GPIO pin Output Level */
  HAL_GPIO_WritePin(PUMP_En1_GPIO_Port, PUMP_En1_Pin, GPIO_PIN_RESET);

  /*Configure GPIO pin Output Level */
  HAL_GPIO_WritePin(GPIOB, PUMP_Mode_Pin|Peltier_FAN_Pin_Pin|ThreeWayValve_Pin_Pin|Buzzer_Pin_Pin
                          |Flash_Reset_Pin|PhotometryPeltierEnableLed_Pin, GPIO_PIN_RESET);

  /*Configure GPIO pin Output Level */
  HAL_GPIO_WritePin(GPIOD, AspirartionLed_Blue_Pin|Flash_WP_Pin, GPIO_PIN_RESET);

  /*Configure GPIO pin Output Level */
  HAL_GPIO_WritePin(FLASH_CS_PIN_GPIO_Port, FLASH_CS_PIN_Pin, GPIO_PIN_SET);

  /*Configure GPIO pins : Preamp_Gain_B_Pin_Pin Preamp_Gain_C_Pin_Pin Preamp_Gain_D_Pin_Pin USB_power_en_Pin
                           AspirartionLed_White_Pin AspirartionLed_Red_Pin Preamp_Gain_A_Pin_Pin */
  GPIO_InitStruct.Pin = Preamp_Gain_B_Pin_Pin|Preamp_Gain_C_Pin_Pin|Preamp_Gain_D_Pin_Pin|USB_power_en_Pin
                          |AspirartionLed_White_Pin|AspirartionLed_Red_Pin|Preamp_Gain_A_Pin_Pin;
  GPIO_InitStruct.Mode = GPIO_MODE_OUTPUT_PP;
  GPIO_InitStruct.Pull = GPIO_NOPULL;
  GPIO_InitStruct.Speed = GPIO_SPEED_FREQ_LOW;
  HAL_GPIO_Init(GPIOE, &GPIO_InitStruct);

  /*Configure GPIO pin : PhotometerTemp_Pin_Pin */
  GPIO_InitStruct.Pin = PhotometerTemp_Pin_Pin;
  GPIO_InitStruct.Mode = GPIO_MODE_INPUT;
  GPIO_InitStruct.Pull = GPIO_PULLUP;
  HAL_GPIO_Init(PhotometerTemp_Pin_GPIO_Port, &GPIO_InitStruct);

  /*Configure GPIO pins : ChamberTemp_pin_Pin Preamp_SPI1_MISO_Pin_Pin LiquidDetection_Pin_Pin */
  GPIO_InitStruct.Pin = ChamberTemp_pin_Pin|Preamp_SPI1_MISO_Pin_Pin|LiquidDetection_Pin_Pin;
  GPIO_InitStruct.Mode = GPIO_MODE_INPUT;
  GPIO_InitStruct.Pull = GPIO_NOPULL;
  HAL_GPIO_Init(GPIOA, &GPIO_InitStruct);

  /*Configure GPIO pins : Peltier_2_Pin_Pin LampEnable_Pin Preamp_SPI1_SCK_Pin_Pin */
  GPIO_InitStruct.Pin = Peltier_2_Pin_Pin|LampEnable_Pin|Preamp_SPI1_SCK_Pin_Pin;
  GPIO_InitStruct.Mode = GPIO_MODE_OUTPUT_PP;
  GPIO_InitStruct.Pull = GPIO_NOPULL;
  GPIO_InitStruct.Speed = GPIO_SPEED_FREQ_LOW;
  HAL_GPIO_Init(GPIOA, &GPIO_InitStruct);

  /*Configure GPIO pins : Preamp_SPI_1_CS_Pin_Pin PUMP_En1_Pin */
  GPIO_InitStruct.Pin = Preamp_SPI_1_CS_Pin_Pin|PUMP_En1_Pin;
  GPIO_InitStruct.Mode = GPIO_MODE_OUTPUT_PP;
  GPIO_InitStruct.Pull = GPIO_NOPULL;
  GPIO_InitStruct.Speed = GPIO_SPEED_FREQ_LOW;
  HAL_GPIO_Init(GPIOC, &GPIO_InitStruct);

  /*Configure GPIO pins : PUMP_Mode_Pin Peltier_FAN_Pin_Pin ThreeWayValve_Pin_Pin Buzzer_Pin_Pin
                           Flash_Reset_Pin PhotometryPeltierEnableLed_Pin */
  GPIO_InitStruct.Pin = PUMP_Mode_Pin|Peltier_FAN_Pin_Pin|ThreeWayValve_Pin_Pin|Buzzer_Pin_Pin
                          |Flash_Reset_Pin|PhotometryPeltierEnableLed_Pin;
  GPIO_InitStruct.Mode = GPIO_MODE_OUTPUT_PP;
  GPIO_InitStruct.Pull = GPIO_NOPULL;
  GPIO_InitStruct.Speed = GPIO_SPEED_FREQ_LOW;
  HAL_GPIO_Init(GPIOB, &GPIO_InitStruct);

  /*Configure GPIO pin : FM_Ext_HomePin_Pin */
  GPIO_InitStruct.Pin = FM_Ext_HomePin_Pin;
  GPIO_InitStruct.Mode = GPIO_MODE_INPUT;
  GPIO_InitStruct.Pull = GPIO_NOPULL;
  HAL_GPIO_Init(FM_Ext_HomePin_GPIO_Port, &GPIO_InitStruct);

  /*Configure GPIO pins : FM_Dir_Pin_Pin FM_Step_Pin_Pin FM_Sleep_Pin_Pin */
  GPIO_InitStruct.Pin = FM_Dir_Pin_Pin|FM_Step_Pin_Pin|FM_Sleep_Pin_Pin;
  GPIO_InitStruct.Mode = GPIO_MODE_OUTPUT_PP;
  GPIO_InitStruct.Pull = GPIO_PULLDOWN;
  GPIO_InitStruct.Speed = GPIO_SPEED_FREQ_LOW;
  HAL_GPIO_Init(GPIOE, &GPIO_InitStruct);

  /*Configure GPIO pins : FM_Reset_Pin_Pin FM_Enable_Pin_Pin */
  GPIO_InitStruct.Pin = FM_Reset_Pin_Pin|FM_Enable_Pin_Pin;
  GPIO_InitStruct.Mode = GPIO_MODE_OUTPUT_PP;
  GPIO_InitStruct.Pull = GPIO_PULLUP;
  GPIO_InitStruct.Speed = GPIO_SPEED_FREQ_LOW;
  HAL_GPIO_Init(GPIOE, &GPIO_InitStruct);

  /*Configure GPIO pin : FM_Home_Inp_Pin_Pin */
  GPIO_InitStruct.Pin = FM_Home_Inp_Pin_Pin;
  GPIO_InitStruct.Mode = GPIO_MODE_INPUT;
  GPIO_InitStruct.Pull = GPIO_PULLDOWN;
  HAL_GPIO_Init(FM_Home_Inp_Pin_GPIO_Port, &GPIO_InitStruct);

  /*Configure GPIO pin : AspirationSwInt_Pin_Pin */
  GPIO_InitStruct.Pin = AspirationSwInt_Pin_Pin;
  GPIO_InitStruct.Mode = GPIO_MODE_IT_RISING;
  GPIO_InitStruct.Pull = GPIO_PULLDOWN;
  HAL_GPIO_Init(AspirationSwInt_Pin_GPIO_Port, &GPIO_InitStruct);

  /*Configure GPIO pin : AspirartionLed_Blue_Pin */
  GPIO_InitStruct.Pin = AspirartionLed_Blue_Pin;
  GPIO_InitStruct.Mode = GPIO_MODE_OUTPUT_PP;
  GPIO_InitStruct.Pull = GPIO_NOPULL;
  GPIO_InitStruct.Speed = GPIO_SPEED_FREQ_LOW;
  HAL_GPIO_Init(AspirartionLed_Blue_GPIO_Port, &GPIO_InitStruct);

  /*Configure GPIO pin : AutoWashDoorFB_Pin_Pin */
  GPIO_InitStruct.Pin = AutoWashDoorFB_Pin_Pin;
  GPIO_InitStruct.Mode = GPIO_MODE_INPUT;
  GPIO_InitStruct.Pull = GPIO_NOPULL;
  HAL_GPIO_Init(AutoWashDoorFB_Pin_GPIO_Port, &GPIO_InitStruct);

  /*Configure GPIO pin : Flash_WP_Pin */
  GPIO_InitStruct.Pin = Flash_WP_Pin;
  GPIO_InitStruct.Mode = GPIO_MODE_OUTPUT_PP;
  GPIO_InitStruct.Pull = GPIO_PULLDOWN;
  GPIO_InitStruct.Speed = GPIO_SPEED_FREQ_LOW;
  HAL_GPIO_Init(Flash_WP_GPIO_Port, &GPIO_InitStruct);

  /*Configure GPIO pin : FLASH_CS_PIN_Pin */
  GPIO_InitStruct.Pin = FLASH_CS_PIN_Pin;
  GPIO_InitStruct.Mode = GPIO_MODE_OUTPUT_PP;
  GPIO_InitStruct.Pull = GPIO_NOPULL;
  GPIO_InitStruct.Speed = GPIO_SPEED_FREQ_VERY_HIGH;
  HAL_GPIO_Init(FLASH_CS_PIN_GPIO_Port, &GPIO_InitStruct);

  /* EXTI interrupt init*/
  HAL_NVIC_SetPriority(EXTI15_10_IRQn, 14, 0);
  HAL_NVIC_EnableIRQ(EXTI15_10_IRQn);

}

/* USER CODE BEGIN 4 */
void HAL_GPIO_EXTI_Callback(uint16_t GPIO_Pin)
{
    if(GPIO_Pin == PIN_ASP_SWITCH)//ext intrupt pin for aspiration switch
    {
        uint32_t currentTime = HAL_GetTick();
        if ((currentTime - lastDebounceTime) >= 500)
        {
            lastDebounceTime = currentTime;
            CallBackAspSwExternalint();
        }
    }
}
/* USER CODE END 4 */

void HandlerStartThreadLcdH(void const * argument)
{
  /* USER CODE BEGIN 5 */
  /* Infinite loop */
  HandlerThreadLcd();
  for(;;)
  {

  }
  /* USER CODE END 5 */
}

void HandlerTemperaturePID(void const * argument)
{
  /* USER CODE BEGIN HandlerTemperaturePID */
  /* Infinite loop */
  HandlerTemperaturePIDThread();
  for(;;)
  {
//	  osDelay(10);
  }
  /* USER CODE END HandlerTemperaturePID */
}

void HAL_TIM_PeriodElapsedCallback(TIM_HandleTypeDef *htim)
{
  if (htim->Instance == TIM2) {
    HAL_IncTick();
  }
  /* USER CODE BEGIN Callback 1 */
  if (htim->Instance == TIM5) { //TIM 5 Buzzer timer
	  IRQ_BuzzerTimerExpiry();
  }
  if (htim->Instance == TIM6) {//TIM 6 Filter motor timer
	  IRQ_FilterMotorStep();
  }
  /* USER CODE END Callback 1 */
}

void Error_Handler(void)
{
  __disable_irq();
  while (1)
  {
  }
}
